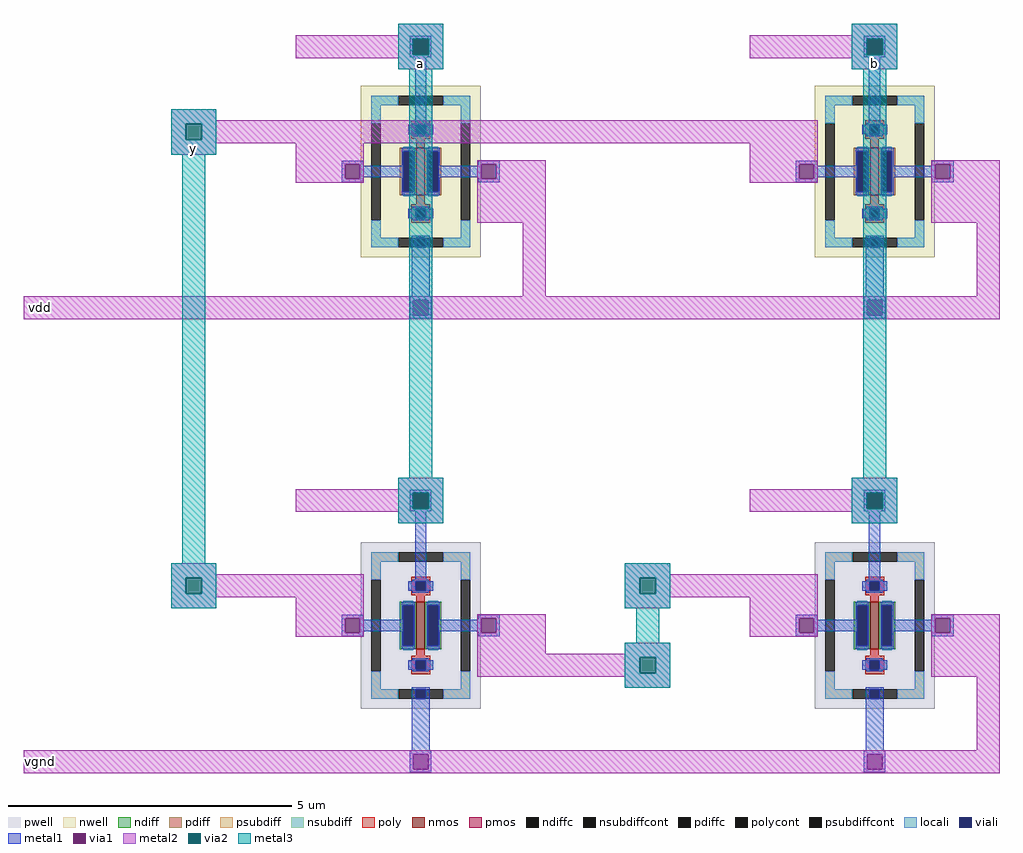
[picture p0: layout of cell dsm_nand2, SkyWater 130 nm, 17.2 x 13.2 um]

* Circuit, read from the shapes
.subckt dsm_nand2 a b y vdd vgnd
XM1 NN1/D a y vgnd sky130_fd_pr__nfet_01v8 w=0.84 l=0.15
XM2 vgnd b NN1/D vgnd sky130_fd_pr__nfet_01v8 w=0.84 l=0.15
XM3 vdd a y vdd sky130_fd_pr__pfet_01v8 w=0.84 l=0.15
XM4 vdd b y vdd sky130_fd_pr__pfet_01v8 w=0.84 l=0.15
.ends

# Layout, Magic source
magic
tech sky130A
<< metal2 >>
rect 660 1590 740 1610
rect 1460 1590 1540 1610
rect 500 1584 740 1590
rect 500 1556 686 1584
rect 714 1556 740 1584
rect 500 1550 740 1556
rect 1300 1584 1540 1590
rect 1300 1556 1486 1584
rect 1514 1556 1540 1584
rect 1300 1550 1540 1556
rect 660 1530 740 1550
rect 1460 1530 1540 1550
rect 260 1440 340 1460
rect 260 1434 1300 1440
rect 260 1406 286 1434
rect 314 1406 1300 1434
rect 260 1400 1300 1406
rect 260 1380 340 1400
rect 880 1130 920 1280
rect 1680 1130 1720 1280
rect 0 1090 1720 1130
rect 660 790 740 810
rect 1460 790 1540 810
rect 500 784 740 790
rect 500 756 686 784
rect 714 756 740 784
rect 500 750 740 756
rect 1300 784 1540 790
rect 1300 756 1486 784
rect 1514 756 1540 784
rect 1300 750 1540 756
rect 660 730 740 750
rect 1460 730 1540 750
rect 260 640 340 660
rect 1060 640 1140 660
rect 260 634 500 640
rect 260 606 286 634
rect 314 606 500 634
rect 260 600 500 606
rect 1060 634 1300 640
rect 1060 606 1086 634
rect 1114 606 1300 634
rect 1060 600 1300 606
rect 260 580 340 600
rect 1060 580 1140 600
rect 1060 500 1140 520
rect 900 494 1140 500
rect 900 466 1086 494
rect 1114 466 1140 494
rect 900 460 1140 466
rect 1060 440 1140 460
rect 1680 330 1720 480
rect 0 290 1720 330
<< via2 >>
rect 686 1556 714 1584
rect 1486 1556 1514 1584
rect 286 1406 314 1434
rect 686 756 714 784
rect 1486 756 1514 784
rect 286 606 314 634
rect 1086 606 1114 634
rect 1086 466 1114 494
<< metal3 >>
rect 660 1584 740 1610
rect 660 1556 686 1584
rect 714 1556 740 1584
rect 660 1530 740 1556
rect 1460 1584 1540 1610
rect 1460 1556 1486 1584
rect 1514 1556 1540 1584
rect 1460 1530 1540 1556
rect 260 1434 340 1460
rect 260 1406 286 1434
rect 314 1406 340 1434
rect 260 1380 340 1406
rect 280 660 320 1380
rect 680 810 720 1530
rect 1480 810 1520 1530
rect 660 784 740 810
rect 660 756 686 784
rect 714 756 740 784
rect 660 730 740 756
rect 1460 784 1540 810
rect 1460 756 1486 784
rect 1514 756 1540 784
rect 1460 730 1540 756
rect 260 634 340 660
rect 260 606 286 634
rect 314 606 340 634
rect 260 580 340 606
rect 1060 634 1140 660
rect 1060 606 1086 634
rect 1114 606 1140 634
rect 1060 580 1140 606
rect 1080 520 1120 580
rect 1060 494 1140 520
rect 1060 466 1086 494
rect 1114 466 1140 494
rect 1060 440 1140 466
use dsm_nand2_n084  NN0
transform 1 0 700 0 1 550
box -220 -260 220 240
use dsm_nand2_n084  NN1
transform 1 0 1500 0 1 550
box -220 -260 220 240
use dsm_nand2_p084  NP0
transform 1 0 700 0 1 1350
box -220 -260 220 240
use dsm_nand2_p084  NP1
transform 1 0 1500 0 1 1350
box -220 -260 220 240
<< labels >>
rlabel metal3 680 1510 720 1570 0 a
port 1 nsew
rlabel metal3 1480 1510 1520 1570 0 b
port 2 nsew
rlabel metal3 280 1360 320 1420 0 y
port 3 nsew
rlabel metal2 0 1094 60 1126 0 vdd
port 4 nsew
rlabel metal2 0 294 60 326 0 vgnd
port 5 nsew
<< properties >>
string FIXED_BBOX 0 0 3600 3600
<< end >>

# cell dsm_nand2_n084: kit device sky130_fd_pr__nfet_01v8, w 0.84 l 0.15 m 1 nf 1 diffcov 100 polycov 100 guard 1 glc 1 grc 1 gtc 1 gbc 1 tbcov 100 rlcov 100 topc 1 botc 1 poverlap 0 doverlap 1 lmin 0.15 wmin 0.42 class mosfet compatible {sky130_fd_pr__nfet_01v8 sky130_fd_pr__nfet_01v8_lvt sky130_fd_bs_flash__special_sonosfet_star sky130_fd_pr__nfet_g5v0d10v5 sky130_fd_pr__nfet_05v0_nvt sky130_fd_pr__nfet_03v3_nvt} full_metal 1 conn_gates 1 viasrc 100 viadrn 100 viagate 100 viagb 0 viagr 0 viagl 0 viagt 0 doports 1

# cell dsm_nand2_p084: kit device sky130_fd_pr__pfet_01v8, w 0.84 l 0.15 m 1 nf 1 diffcov 100 polycov 100 guard 1 glc 1 grc 1 gtc 1 gbc 1 tbcov 100 rlcov 100 topc 1 botc 1 poverlap 0 doverlap 1 lmin 0.15 wmin 0.42 class mosfet compatible {sky130_fd_pr__pfet_01v8 sky130_fd_pr__pfet_01v8_lvt sky130_fd_pr__pfet_01v8_hvt sky130_fd_pr__pfet_g5v0d10v5} full_metal 1 conn_gates 1 viasrc 100 viadrn 100 viagate 100 viagb 0 viagr 0 viagl 0 viagt 0 doports 1
